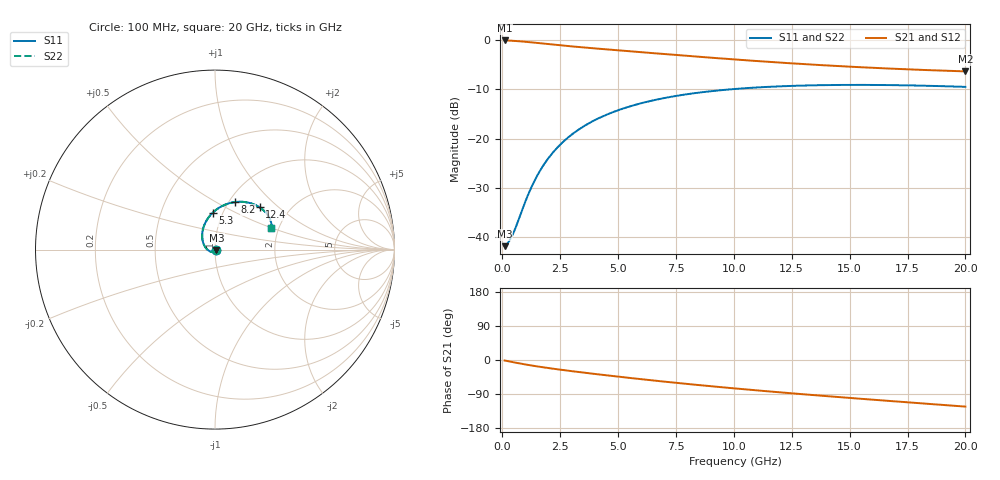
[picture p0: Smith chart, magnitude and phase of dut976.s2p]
! Touchstone file exported from HFSS 2024.1.0
!  File:  C:/UserFiles/LocalFiles/RDL_TSV_Batchsim/temp_RDL_TSV_976_1779972504.aedt
!  Generated:  09:04:11 PM May 28, 2026
!  Design:  RDL_TSV
!  Project:  temp_RDL_TSV_976_1779972504
!  Setup:  Setup1
!  Solution:  Sweep
! Variables:
!  dtsv = 11.93um
!  hbump = 3um
!  htsv = 55.72um
!  ldown = 437.3um
!  lrdl = 104.93um
!  p = 40
!  p1 = 59.85um
!  rhole = 10um
!  subl = 1731.62um
!  t = 450um
!  tdown = 2.8um
!  trdl = 3.46um
!  viad = 10um
!  wdown = 29.69um
!  wrdl = 27.02um
!  xbump = 18um
# GHz S MA R 50.000000
! Terminal data exported
! Port[1] = TM1_1_T1
! Port[2] = TM1_4_T1
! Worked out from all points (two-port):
!   200 points, 100 MHz to 20 GHz, reference 50 ohm
!   highest |S21| = -0.07 dB at 100 MHz (marker M1); lowest = -6.3 dB at 20 GHz (marker M2)
!   |S21| within 3 dB of the highest: start of sweep to 7.658 GHz
!   lowest |S11| = -41.8 dB at 100 MHz (marker M3), VSWR 1.02, Z = 50.8 - j0.229 ohm
!   |S11| at or under -10 dB: start of sweep to 9.816 GHz
!   |S22| runs from -41.8 to -9.1 dB; largest |S21 - S12| = 7.3e-14
!   S11 on the Smith chart (normalised r, x): 100 MHz: 1.02, -0.00; 5.3 GHz: 0.90, +0.38; 8.2 GHz: 1.07, +0.62; 12.4 GHz: 1.42, +0.76; 20 GHz: 1.83, +0.49
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0.1  0.008144 -16.1  0.9915 -1.3  0.9915 -1.3  0.008144 -16.1
! Gamma 0 0 0 0
! Port Impedance 50 0 50 0
0.2  0.008551 -32.9  0.9901 -2.5  0.9901 -2.5  0.008552 -32.9
0.4  0.01011 -67.8  0.9854 -5.0  0.9854 -5.0  0.01011 -67.8
0.6  0.01299 -99.8  0.9788 -7.3  0.9788 -7.3  0.01299 -99.8
1  0.0232 -145.5  0.9615 -11.8  0.9615 -11.8  0.02319 -145.4
1.2  0.03007 -161.1  0.9515 -13.9  0.9515 -13.9  0.03006 -161.1
1.5  0.04188 -179.3  0.9358 -16.8  0.9358 -16.8  0.04185 -179.2
1.8  0.05485 166.7  0.9201 -19.6  0.9201 -19.6  0.05481 166.7
2.2  0.0731 151.9  0.8998 -23.0  0.8998 -23.0  0.07305 152.0
2.6  0.09174 140.2  0.8808 -26.3  0.8808 -26.3  0.09168 140.2
3  0.1103 130.4  0.8632 -29.4  0.8632 -29.4  0.1102 130.4
3.5  0.1329 120.2  0.8427 -33.2  0.8427 -33.2  0.1328 120.2
4.3  0.167 106.9  0.8125 -39.0  0.8125 -39.0  0.1669 106.9
5.3  0.2053 93.8  0.7774 -45.9  0.7774 -45.9  0.2052 93.8
6  0.2291 86.1  0.754 -50.6  0.754 -50.6  0.2289 86.1
6.8  0.2531 78.5  0.7283 -55.8  0.7283 -55.8  0.2529 78.5
8.2  0.2875 67.2  0.686 -64.5  0.686 -64.5  0.2872 67.2
10.1  0.3202 54.9  0.6347 -75.3  0.6347 -75.3  0.3199 54.9
12.4  0.3427 43.4  0.5831 -87.4  0.5831 -87.4  0.3424 43.4
13.4  0.3479 39.2  0.5641 -92.4  0.5641 -92.4  0.3475 39.2
16.7  0.3499 28.2  0.5146 -108.0  0.5146 -108.0  0.3495 28.2
20  0.3356 20.8  0.4818 -123.0  0.4818 -123.0  0.3352 20.7
